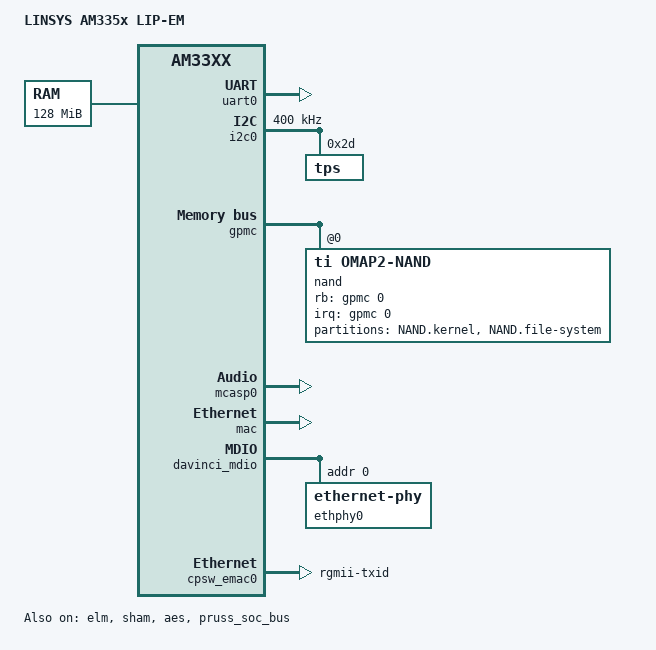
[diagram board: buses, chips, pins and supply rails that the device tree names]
/*
 * Copyright (C) 2012 Texas Instruments Incorporated - http://www.ti.com/
 *
 * This program is free software; you can redistribute it and/or modify
 * it under the terms of the GNU General Public License version 2 as
 * published by the Free Software Foundation.
 */
/dts-v1/;

#include "am33xx.dtsi"
#include <dt-bindings/interrupt-controller/irq.h>

/ {
	model = "LINSYS AM335x LIP-EM";
	compatible = "linsys,lipem", "ti,am33xx";

	
	memory@80000000 {
		device_type = "memory";
		reg = <0x80000000 0x8000000>; /* 128 MB */
	};

	chosen {
		stdout-path = &uart0;
		tick-timer = &timer2;
	};

	cpus {
		cpu@0 {
			status = "okay";
			/* Always on regulator */
		};
	};

	sound {
		compatible = "ti,da830-evm-audio";
		ti,model = "AM335x-EVM";
		ti,audio-codec = <&tlv320aic3106>;
		ti,mcasp-controller = <&mcasp0>;
		ti,codec-clock-rate = <12000000>;
		ti,audio-routing =
			    "Headphone Jack",       "HPLOUT",
			    "Headphone Jack",       "HPROUT",
			    "LINE1L",               "Line In",
			    "LINE1R",               "Line In";
	};
};

&am33xx_pinmux {
	pinctrl-names = "default";
		
	i2c0_pins: pinmux_i2c0_pins {
		pinctrl-single,pins = <
			AM33XX_IOPAD(0x988, PIN_INPUT_PULLUP | MUX_MODE0)	/* i2c0_sda.i2c0_sda */
			AM33XX_IOPAD(0x98c, PIN_INPUT_PULLUP | MUX_MODE0)	/* i2c0_scl.i2c0_scl */
		>;
	};

	uart0_pins: pinmux_uart0_pins {
		pinctrl-single,pins = <
			AM33XX_IOPAD(0x970, PIN_INPUT_PULLUP | MUX_MODE0)	/* uart0_rxd.uart0_rxd */
			AM33XX_IOPAD(0x974, PIN_OUTPUT_PULLDOWN | MUX_MODE0)	/* uart0_txd.uart0_txd */
		>;
	};


//	clkout2_pin: pinmux_clkout2_pin {
//		pinctrl-single,pins = <
//			AM33XX_IOPAD(0x9b4, PIN_OUTPUT_PULLDOWN | MUX_MODE3)	/* xdma_event_intr1.clkout2 */
//		>;
//	};

	nandflash_pins_s0: nandflash_pins_s0 {
		pinctrl-single,pins = <
			AM33XX_IOPAD(0x800, PIN_INPUT_PULLUP | MUX_MODE0)	/* gpmc_ad0.gpmc_ad0 */
			AM33XX_IOPAD(0x804, PIN_INPUT_PULLUP | MUX_MODE0)	/* gpmc_ad1.gpmc_ad1 */
			AM33XX_IOPAD(0x808, PIN_INPUT_PULLUP | MUX_MODE0)	/* gpmc_ad2.gpmc_ad2 */
			AM33XX_IOPAD(0x80c, PIN_INPUT_PULLUP | MUX_MODE0)	/* gpmc_ad3.gpmc_ad3 */
			AM33XX_IOPAD(0x810, PIN_INPUT_PULLUP | MUX_MODE0)	/* gpmc_ad4.gpmc_ad4 */
			AM33XX_IOPAD(0x814, PIN_INPUT_PULLUP | MUX_MODE0)	/* gpmc_ad5.gpmc_ad5 */
			AM33XX_IOPAD(0x818, PIN_INPUT_PULLUP | MUX_MODE0)	/* gpmc_ad6.gpmc_ad6 */
			AM33XX_IOPAD(0x81c, PIN_INPUT_PULLUP | MUX_MODE0)	/* gpmc_ad7.gpmc_ad7 */
			AM33XX_IOPAD(0x870, PIN_INPUT_PULLUP | MUX_MODE0)	/* gpmc_wait0.gpmc_wait0 */
			AM33XX_IOPAD(0x874, PIN_INPUT_PULLUP | MUX_MODE7)	/* gpmc_wpn.gpio0_30 */
			AM33XX_IOPAD(0x87c, PIN_OUTPUT | MUX_MODE0)		/* gpmc_csn0.gpmc_csn0  */
			AM33XX_IOPAD(0x890, PIN_OUTPUT | MUX_MODE0)		/* gpmc_advn_ale.gpmc_advn_ale */
			AM33XX_IOPAD(0x894, PIN_OUTPUT | MUX_MODE0)		/* gpmc_oen_ren.gpmc_oen_ren */
			AM33XX_IOPAD(0x898, PIN_OUTPUT | MUX_MODE0)		/* gpmc_wen.gpmc_wen */
			AM33XX_IOPAD(0x89c, PIN_OUTPUT | MUX_MODE0)		/* gpmc_be0n_cle.gpmc_be0n_cle */
		>;
	};


	cpsw_default: cpsw_default {
		pinctrl-single,pins = <
			/* Slave 1 */
			AM33XX_IOPAD(0x914, PIN_OUTPUT_PULLDOWN | MUX_MODE2)	/* mii1_txen.rgmii1_tctl */
			AM33XX_IOPAD(0x918, PIN_INPUT_PULLDOWN | MUX_MODE2)	/* mii1_rxdv.rgmii1_rctl */
			AM33XX_IOPAD(0x91c, PIN_OUTPUT_PULLDOWN | MUX_MODE2)	/* mii1_txd3.rgmii1_td3 */
			AM33XX_IOPAD(0x920, PIN_OUTPUT_PULLDOWN | MUX_MODE2)	/* mii1_txd2.rgmii1_td2 */
			AM33XX_IOPAD(0x924, PIN_OUTPUT_PULLDOWN | MUX_MODE2)	/* mii1_txd1.rgmii1_td1 */
			AM33XX_IOPAD(0x928, PIN_OUTPUT_PULLDOWN | MUX_MODE2)	/* mii1_txd0.rgmii1_td0 */
			AM33XX_IOPAD(0x92c, PIN_OUTPUT_PULLDOWN | MUX_MODE2)	/* mii1_txclk.rgmii1_tclk */
			AM33XX_IOPAD(0x930, PIN_INPUT_PULLDOWN | MUX_MODE2)	/* mii1_rxclk.rgmii1_rclk */
			AM33XX_IOPAD(0x934, PIN_INPUT_PULLDOWN | MUX_MODE2)	/* mii1_rxd3.rgmii1_rd3 */
			AM33XX_IOPAD(0x938, PIN_INPUT_PULLDOWN | MUX_MODE2)	/* mii1_rxd2.rgmii1_rd2 */
			AM33XX_IOPAD(0x93c, PIN_INPUT_PULLDOWN | MUX_MODE2)	/* mii1_rxd1.rgmii1_rd1 */
			AM33XX_IOPAD(0x940, PIN_INPUT_PULLDOWN | MUX_MODE2)	/* mii1_rxd0.rgmii1_rd0 */
		>;
	};

	cpsw_sleep: cpsw_sleep {
		pinctrl-single,pins = <
			/* Slave 1 reset value */
			AM33XX_IOPAD(0x914, PIN_INPUT_PULLDOWN | MUX_MODE7)
			AM33XX_IOPAD(0x918, PIN_INPUT_PULLDOWN | MUX_MODE7)
			AM33XX_IOPAD(0x91c, PIN_INPUT_PULLDOWN | MUX_MODE7)
			AM33XX_IOPAD(0x920, PIN_INPUT_PULLDOWN | MUX_MODE7)
			AM33XX_IOPAD(0x924, PIN_INPUT_PULLDOWN | MUX_MODE7)
			AM33XX_IOPAD(0x928, PIN_INPUT_PULLDOWN | MUX_MODE7)
			AM33XX_IOPAD(0x92c, PIN_INPUT_PULLDOWN | MUX_MODE7)
			AM33XX_IOPAD(0x930, PIN_INPUT_PULLDOWN | MUX_MODE7)
			AM33XX_IOPAD(0x934, PIN_INPUT_PULLDOWN | MUX_MODE7)
			AM33XX_IOPAD(0x938, PIN_INPUT_PULLDOWN | MUX_MODE7)
			AM33XX_IOPAD(0x93c, PIN_INPUT_PULLDOWN | MUX_MODE7)
			AM33XX_IOPAD(0x940, PIN_INPUT_PULLDOWN | MUX_MODE7)
		>;
	};

	davinci_mdio_default: davinci_mdio_default {
		pinctrl-single,pins = <
			/* MDIO */
			AM33XX_IOPAD(0x948, PIN_INPUT_PULLUP | SLEWCTRL_FAST | MUX_MODE0)	/* mdio_data.mdio_data */
			AM33XX_IOPAD(0x94c, PIN_OUTPUT_PULLUP | MUX_MODE0)			/* mdio_clk.mdio_clk */
		>;
	};

	davinci_mdio_sleep: davinci_mdio_sleep {
		pinctrl-single,pins = <
			/* MDIO reset value */
			AM33XX_IOPAD(0x948, PIN_INPUT_PULLDOWN | MUX_MODE7)
			AM33XX_IOPAD(0x94c, PIN_INPUT_PULLDOWN | MUX_MODE7)
		>;
	};

	mcasp1_pins: mcasp1_pins {
		pinctrl-single,pins = <
			AM33XX_IOPAD(0x90c, PIN_INPUT_PULLDOWN | MUX_MODE4) /* mii1_crs.mcasp1_aclkx */
			AM33XX_IOPAD(0x910, PIN_INPUT_PULLDOWN | MUX_MODE4) /* mii1_rxerr.mcasp1_fsx */
			AM33XX_IOPAD(0x908, PIN_OUTPUT_PULLDOWN | MUX_MODE4) /* mii1_col.mcasp1_axr2 */
			AM33XX_IOPAD(0x944, PIN_INPUT_PULLDOWN | MUX_MODE4) /* rmii1_ref_clk.mcasp1_axr3 */
		>;
	};

	am335x_evm_audio_pins: am335x_evm_audio_pins {
		pinctrl-single,pins = <
		  0x190 (PIN_OUTPUT_PULLDOWN | MUX_MODE0) /* mcasp0_aclkx */
		  0x194 (PIN_INPUT_PULLDOWN | MUX_MODE0)  /* mcasp0_fsx */
		  0x198 (PIN_OUTPUT_PULLDOWN | MUX_MODE0) /* mcasp0_axr0 */
		  0x1A8 (PIN_INPUT_PULLDOWN | MUX_MODE0)  /* mcasp0_axr1 */
		  0x1AC (PIN_INPUT_PULLDOWN | MUX_MODE0)  /* mcasp0_ahclkx */
		>;
	};
};

&uart0 {
	pinctrl-names = "default";
	pinctrl-0 = <&uart0_pins>;

	status = "okay";
};


&i2c0 {
	pinctrl-names = "default";
	pinctrl-0 = <&i2c0_pins>;

	status = "okay";
	clock-frequency = <400000>;

	tps: tps@2d {
		reg = <0x2d>;
	};
};

&cppi41dma  {
	status = "okay";
};

&elm {
	status = "okay";
};

&gpmc {
	status = "okay";
	pinctrl-names = "default";
	pinctrl-0 = <&nandflash_pins_s0>;
	ranges = <0 0 0x08000000 0x1000000>;	/* CS0: 16MB for NAND */
	nand@0,0 {
		compatible = "ti,omap2-nand";
		reg = <0 0 4>; /* CS0, offset 0, IO size 4 */
		interrupt-parent = <&gpmc>;
		interrupts = <0 IRQ_TYPE_NONE>, /* fifoevent */
			     <1 IRQ_TYPE_NONE>;	/* termcount */
		rb-gpios = <&gpmc 0 GPIO_ACTIVE_HIGH>; /* gpmc_wait0 */
		ti,nand-xfer-type = "prefetch-dma";
		ti,nand-ecc-opt = "bch8";
		ti,elm-id = <&elm>;
		nand-bus-width = <8>;
		gpmc,device-width = <1>;
		gpmc,sync-clk-ps = <0>;
		gpmc,cs-on-ns = <0>;
		gpmc,cs-rd-off-ns = <44>;
		gpmc,cs-wr-off-ns = <44>;
		gpmc,adv-on-ns = <6>;
		gpmc,adv-rd-off-ns = <34>;
		gpmc,adv-wr-off-ns = <44>;
		gpmc,we-on-ns = <0>;
		gpmc,we-off-ns = <40>;
		gpmc,oe-on-ns = <0>;
		gpmc,oe-off-ns = <54>;
		gpmc,access-ns = <64>;
		gpmc,rd-cycle-ns = <82>;
		gpmc,wr-cycle-ns = <82>;
		gpmc,bus-turnaround-ns = <0>;
		gpmc,cycle2cycle-delay-ns = <0>;
		gpmc,clk-activation-ns = <0>;
		gpmc,wr-access-ns = <40>;
		gpmc,wr-data-mux-bus-ns = <0>;
		/* MTD partition table */
		/* All SPL-* partitions are sized to minimal length
		 * which can be independently programmable. For
		 * NAND flash this is equal to size of erase-block */
		#address-cells = <1>;
		#size-cells = <1>;
		partition@0 {
			label = "NAND.kernel";
			reg = <0x00000000 0x00800000>;
		};
		partition@1 {
			label = "NAND.file-system";
			reg = <0x00800000 0x0F800000>;
		};
	};
};

&mcasp0 {
	pinctrl-names = "default";
	pinctrl-0 = <&am335x_evm_audio_pins>;

	status = "okay";

	op-mode = <0>;          /* MCASP_IIS_MODE */
	tdm-slots = <2>;
	/* 4 serializers */
	serial-dir = <  /* 0: INACTIVE, 1: TX, 2: RX */
			0 0 1 2
			>;
	tx-num-evt = <32>;
	rx-num-evt = <32>;
};

&mac {
	pinctrl-names = "default", "sleep";
	pinctrl-0 = <&cpsw_default>;
	pinctrl-1 = <&cpsw_sleep>;
	status = "okay";
};

&davinci_mdio {
	pinctrl-names = "default", "sleep";
	pinctrl-0 = <&davinci_mdio_default>;
	pinctrl-1 = <&davinci_mdio_sleep>;
	status = "okay";

	ethphy0: ethernet-phy@0 {
		reg = <0>;
	};
};

&cpsw_emac0 {
	phy_id = <&davinci_mdio>, <0>;
	phy-mode = "rgmii-txid";
};

&sham {
	status = "okay";
};

&aes {
	status = "okay";
};


&rtc {
	clocks = <&clk_32768_ck>, <&l4_per_clkctrl AM3_CLKDIV32K_CLKCTRL 0>;
	clock-names = "ext-clk", "int-clk";
};

&pruss_soc_bus {
	status = "okay";

	pruss: pruss@4a300000 {
		status = "okay";
	};
};
